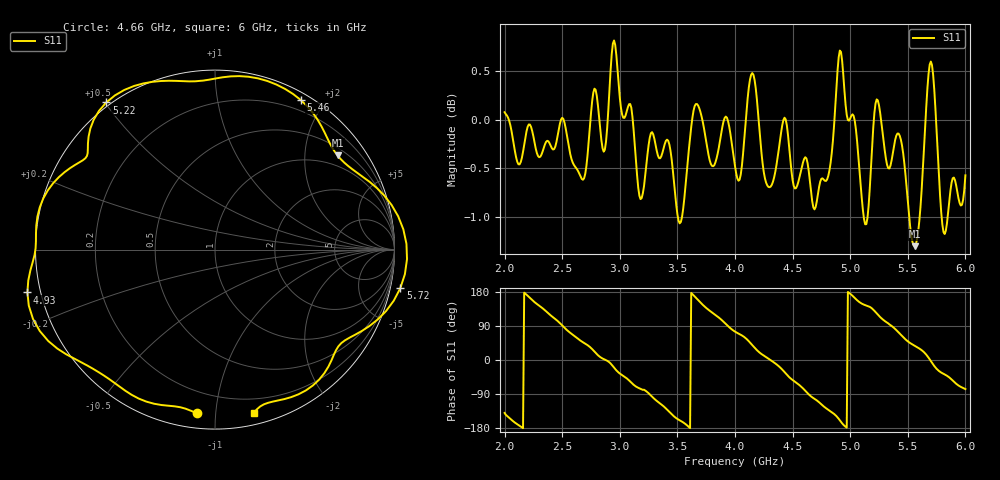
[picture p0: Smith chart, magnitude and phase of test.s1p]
!Agilent Technologies,N5247A,US51370340,A.09.90.02
!Agilent N5247A: A.09.90.02
!Date: Friday, May 26, 2017 15:59:58
!Correction: S22(Off)
!S1P File: Measurement: S22:
# Hz S  RI  R 50
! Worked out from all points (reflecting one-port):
!   401 points, 2 GHz to 6 GHz, reference 50 ohm
!   lowest |S11| = -1.3 dB at 5.56 GHz (marker M1), VSWR 13.38, Z = 34.4 + j140 ohm
!   phase of S11 starts at -140 deg and turns -1017 deg over the sweep
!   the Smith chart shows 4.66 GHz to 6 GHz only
!   S11 on the Smith chart (normalised r, x): 4.66 GHz: 0.08, -0.90; 4.93 GHz: -0.04, -0.11; 5.22 GHz: -0.01, +0.50; 5.46 GHz: 0.08, +1.72; 5.72 GHz: -2.35, -9.07; 6 GHz: 0.09, -1.26
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2e9  -0.7694 -0.6525
2.22e9  -0.9537 0.2808
2.5e9  -0.0193 1.002
2.79e9  0.9805 0.3343
2.94e9  1.051 -0.3062
3e9  0.8336 -0.5986
3.11e9  0.4609 -0.891
3.28e9  -0.1148 -0.9786
3.5e9  -0.8138 -0.3701
3.68e9  -0.9407 0.3859
3.89e9  -0.2401 0.9618
4e9  0.2478 0.9135
4.12e9  0.6745 0.79
4.2e9  0.9275 0.3963
4.4e9  0.9125 -0.37
4.5e9  0.5642 -0.7404
4.66e9  -0.0977 -0.9131
4.86e9  -0.7863 -0.6066
4.93e9  -1.045 -0.2387
5e9  -0.9975 0.0879
5.22e9  -0.6055 0.8201
5.38e9  0.0881 0.9652
5.46e9  0.4769 0.8341
5.5e9  0.5932 0.6867
5.56e9  0.6828 0.5245
5.65e9  0.9429 0.3012
5.72e9  1.032 -0.2157
6e9  0.2146 -0.9113
